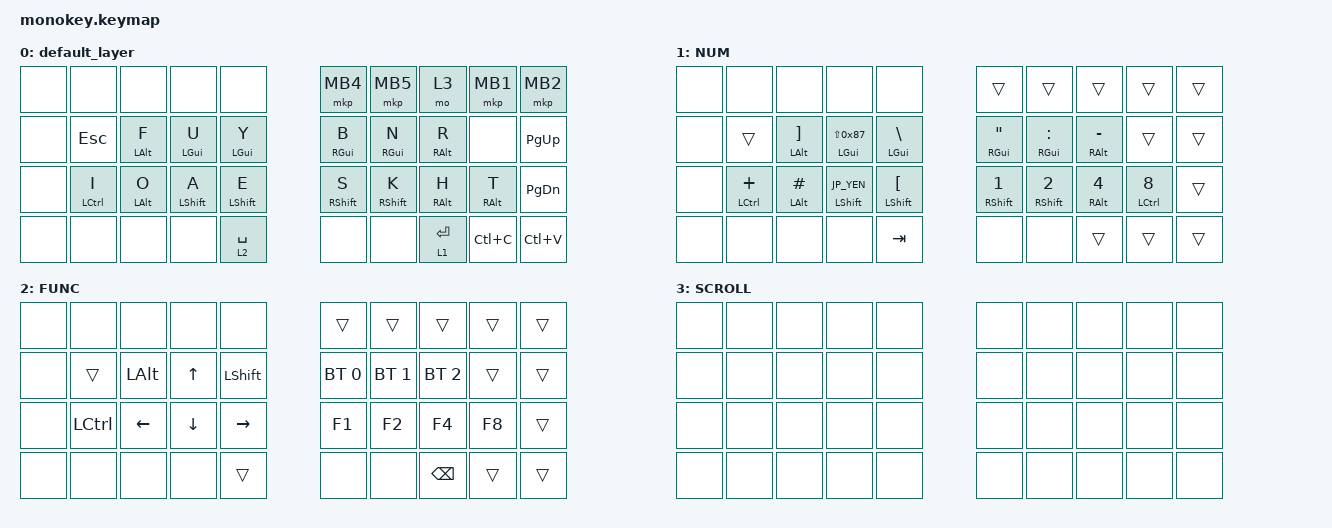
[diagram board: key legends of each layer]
// 定義を呼んでくる

#include <dt-bindings/zmk/mouse.h>
#include <behaviors.dtsi>
#include <dt-bindings/zmk/bt.h>
#include <dt-bindings/zmk/keys.h>
#include <dt-bindings/zmk/pointing.h>
#include <input/processors.dtsi>

#define MOUSE 4
#define SCROLL 3
#define NUM 6

// US とJISの違いを定義しておく

#define JP_DQUOTE       AT                // "
#define JP_AMPERSAND    CARET             // &
#define JP_QUOTE        AMPERSAND         // '
#define JP_EQUAL        UNDER             // =
#define JP_CARET        EQUAL             // ^
#define JP_YEN          0x89              // ¥
#define JP_PLUS         COLON             // +
#define JP_TILDE        PLUS              // ~
#define JP_PIPE         LS(0x89)          // |
#define JP_AT           LEFT_BRACKET      // @
#define JP_COLON        SINGLE_QUOTE      // :
#define JP_ASTERISK     DOUBLE_QUOTES     // *
#define JP_BACKQUOTE    LEFT_BRACE        // `
#define JP_UNDERSCORE   LS(0x87)          // _
#define JP_LBRACKET     RIGHT_BRACKET     // [
#define JP_RBRACKET     BACKSLASH         // ]
#define JP_LPAREN       ASTERISK          // (
#define JP_RPAREN       LEFT_PARENTHESIS  // )
#define JP_LBRACE       RIGHT_BRACE       // {
#define JP_RBRACE       PIPE              // }
#define JP_KANA         LANGUAGE_1        // かな
#define JP_EISU         LANGUAGE_2        // 英数
#define JP_HANZEN       GRAVE             // 半角/全角

// 特殊入力の挙動を調整できる

&mt {
    flavor = "tap-preferred";
    tapping-term-ms = <225>;
    quick-tap-ms = <200>;
    require-prior-idle-ms = <150>;
};

&lt {
    flavor = "balanced";
    tapping-term-ms = <175>;
    quick-tap-ms = <200>;
};

/ {
    combos {
        compatible = "zmk,combos";
        timeout-ms = <100>;
        require-prior-idle-ms = <150>;

        //combo_name {
        //    key-positions = < position No. >;
        //    bindings = <>;
        //    layers = <0>;
        //};

        combo_sUnlock {
            key-positions = <9 39>;
            bindings = <&studio_unlock>;
        };

        combo_reset_L {
            key-positions = <0 4 34>;
            bindings = <&bootloader>;
        };

        combo_reset_R {
            key-positions = <5 9 37>;
            bindings = <&bootloader>;
        };

        combo_lang2 {
            bindings = <&kp LANG2>;
            key-positions = <22 24 23>;
            layers = <0>;
        };

        combo_lamg1 {
            bindings = <&kp LANGUAGE_1>;
            key-positions = <25 26 27>;
            layers = <0>;
        };

        combo_w {
            bindings = <&kp W>;
            key-positions = <25 27>;
            layers = <0>;
        };

        combo_z {
            bindings = <&kp Z>;
            key-positions = <25 26>;
            layers = <0>;
        };

        combo_g {
            bindings = <&kp G>;
            key-positions = <27 26>;
            layers = <0>;
        };

        combo_d {
            bindings = <&kp D>;
            key-positions = <28 27>;
            layers = <0>;
        };

        combo_comma {
            bindings = <&kp COMMA>;
            key-positions = <37 25>;
            layers = <0 1>;
        };

        combo_dot {
            bindings = <&kp DOT>;
            key-positions = <37 26>;
            layers = <0 1>;
        };

        combo_x {
            bindings = <&kp X>;
            key-positions = <14 13>;
            layers = <0>;
        };

        combo_q {
            bindings = <&kp Q>;
            key-positions = <14 12>;
            layers = <0>;
        };

        combo_l {
            bindings = <&kp L>;
            key-positions = <15 17>;
            layers = <0>;
        };

        combo_p {
            bindings = <&kp P>;
            key-positions = <15 16>;
            layers = <0>;
        };

        combo_m {
            bindings = <&kp M>;
            key-positions = <17 16>;
            layers = <0>;
        };

        combo_j {
            bindings = <&kp J>;
            key-positions = <17 28>;
            layers = <0>;
        };

        combo_c {
            bindings = <&kp C>;
            key-positions = <23 22>;
        };

        combo_v {
            bindings = <&kp V>;
            key-positions = <23 24>;
            layers = <0>;
        };

        combo_minus {
            bindings = <&kp MINUS>;
            key-positions = <37 25 26>;
            layers = <0>;
        };

        combo_lbkt {
            bindings = <&kp JP_LBRACKET>;
            key-positions = <34 14>;
            layers = <0>;
        };

        combo_rbkt {
            bindings = <&kp JP_RBRACKET>;
            key-positions = <37 15>;
            layers = <0>;
        };

        combo_n3 {
            bindings = <&kp N3>;
            key-positions = <25 26>;
            layers = <1>;
        };

        combo_n5 {
            bindings = <&kp N5>;
            key-positions = <27 25>;
            layers = <1>;
        };

        combo_n6 {
            bindings = <&kp N6>;
            key-positions = <26 27>;
            layers = <1>;
        };

        combo_n7 {
            bindings = <&kp N7>;
            key-positions = <25 27 26>;
            layers = <1>;
        };

        combo_n9 {
            bindings = <&kp N9>;
            key-positions = <25 28>;
            layers = <1>;
        };

        combo_n0 {
            bindings = <&kp N0>;
            key-positions = <26 28>;
            layers = <1>;
        };

        combo_f3 {
            bindings = <&kp F3>;
            key-positions = <25 26>;
            layers = <2>;
        };

        combo_f5 {
            bindings = <&kp F5>;
            key-positions = <25 27>;
            layers = <2>;
        };

        combo_f6 {
            bindings = <&kp F6>;
            key-positions = <26 27>;
            layers = <2>;
        };

        combo_f7 {
            bindings = <&kp F7>;
            key-positions = <25 26 27>;
            layers = <2>;
        };

        combo_f9 {
            bindings = <&kp F9>;
            key-positions = <25 28>;
            layers = <2>;
        };

        combo_f10 {
            bindings = <&kp F10>;
            key-positions = <26 28>;
            layers = <2>;
        };

        combo_f11 {
            bindings = <&kp F11>;
            key-positions = <25 26 28>;
            layers = <2>;
        };

        combo_f12 {
            bindings = <&kp F12>;
            key-positions = <27 28>;
            layers = <2>;
        };

        combo_qmark {
            bindings = <&kp QMARK>;
            key-positions = <37 27>;
            layers = <0>;
        };

        combo_excl {
            bindings = <&kp EXCL>;
            key-positions = <37 28>;
            layers = <0>;
        };

        combo_caret {
            bindings = <&kp JP_CARET>;
            key-positions = <25 16 27>;
            layers = <0>;
        };

        combo_eqal {
            bindings = <&kp EQUAL>;
            key-positions = <25 26 27 28>;
            layers = <1>;
        };

        combo_divid {
            bindings = <&kp FSLH>;
            key-positions = <15 17>;
            layers = <1>;
        };

        combo_underscore {
            bindings = <&kp JP_UNDERSCORE>;
            key-positions = <37 25 26 27>;
        };

        combo_colon {
            bindings = <&kp JP_COLON>;
            key-positions = <15 25>;
        };

        combo_semi {
            bindings = <&kp SEMI>;
            key-positions = <16 26>;
        };

        combo_bspc {
            bindings = <&kp BSPC>;
            key-positions = <34 21>;
            layers = <0>;
        };

        combo_esc {
            bindings = <&kp ESC>;
            key-positions = <21 12>;
        };

        combo_bt_clr {
            bindings = <&bt BT_CLR>;
            key-positions = <15 16 17>;
            layers = <2>;
        };

        combo_tab {
            bindings = <&kp TAB>;
            key-positions = <37 17>;
            layers = <0>;
        };

        combo_mb3 {
            bindings = <&mkp MB3>;
            key-positions = <8 9>;
    };

    behaviors {
        right_click: right_click_behavior {
            compatible = "zmk,behavior-mouse-key";
            label = "RIGHT_CLICK";
            #binding-cells = <0>;

            // 右クリックは通常 MB2 に対応（ZMKの標準定義）

            bindings = <&mkp MB2>;
        };
        scroll_mb3: scroll_mb3 {
            compatible = "zmk,behavior-macro";
            label = "SCROLL_MB3";
            #binding-cells = <0>;

            bindings =
                <&macro_press   &mo 3>
                , <&macro_press &mkp MB3>
                , <&macro_release &mo 3>
                , <&macro_release &mkp MB3>;
        };
    };

    keymap {
        compatible = "zmk,keymap";

        default_layer {
            bindings = <
&none  &none        &none       &none        &none                      &mkp MB4     &mkp MB5     &mo 3       &mkp MB1    &mkp MB2
&none  &kp ESC      &mt LALT F  &mt LGUI U   &mt LGUI Y                 &mt RGUI B   &mt RGUI N   &mt RALT R  &none       &kp PG_UP
&none  &mt LCTRL I  &mt LALT O  &mt LSHFT A  &mt LSHFT E                &mt RSHFT S  &mt RSHFT K  &mt RALT H  &mt RALT T  &kp PG_DN
&none  &none        &none       &none        &lt 2 SPACE    &none  &none  &lt 1 RET                           &kp LC(C)   &kp LC(V)
            >;
        };

        NUM {
            bindings = <
&none  &none               &none                 &none                   &none                               &trans                &trans            &trans          &trans        &trans
&none  &trans              &mt LALT JP_LBRACKET  &mt LGUI JP_UNDERSCORE  &mt LGUI JP_RBRACKET                &mt RGUI JP_ASTERISK  &mt RGUI JP_PLUS  &mt RALT MINUS  &trans        &trans
&none  &mt LCTRL JP_TILDE  &mt LALT HASH         &mt LSHFT JP_YEN        &mt LSHFT JP_AT                     &mt RSHFT N1          &mt RSHFT N2      &mt RALT N4     &mt LCTRL N8  &trans
&none  &none               &none                 &none                   &kp TAB              &none  &none  &trans                                                  &trans        &trans
            >;
        };

        FUNC {
            bindings = <
&none  &none      &none     &none     &none                    &trans        &trans        &trans        &trans  &trans
&none  &trans     &kp LALT  &kp UP    &kp LSHFT                &bt BT_SEL 0  &bt BT_SEL 1  &bt BT_SEL 2  &trans  &trans
&none  &kp LCTRL  &kp LEFT  &kp DOWN  &kp RIGHT                &kp F1        &kp F2        &kp F4        &kp F8  &trans
&none  &none      &none     &none     &trans     &none  &none  &kp BSPC                                 &trans  &trans
            >;
        };
        SCROLL {
            bindings = <
&none &none &none &none &none             &none &none &none &none &none
&none &none &none &none &none             &none &none &none &none &none
&none &none &none &none &none             &none &none &none &none &none
&none &none &none &none &none &none &none &none             &none &none
            >;
        };

    };
};
